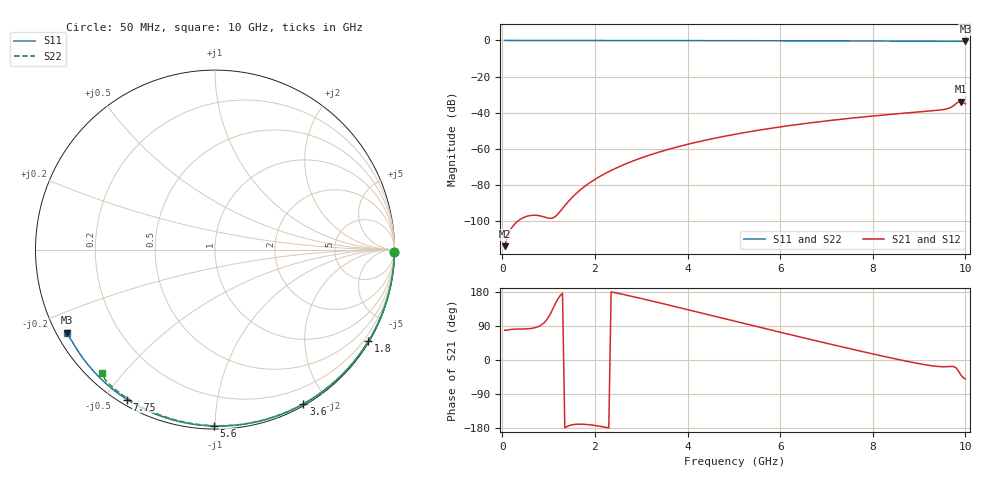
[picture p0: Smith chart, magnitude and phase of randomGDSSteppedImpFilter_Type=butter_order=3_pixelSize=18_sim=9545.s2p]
! freq	dB(S11)	phase(S11)	dB(S12)	phase(S12)
!  dB(S21)	phase(S21)	dB(S22)	phase(S22)
!S-par simulation data
#  GHz  S  DB  R 50
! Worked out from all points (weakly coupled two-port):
!   200 points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, 50 MHz to 10 GHz, reference 50 ohm
!   highest |S21| = -33.92 dB at 9.9 GHz (marker M1); lowest = -113.8 dB at 50 MHz (marker M2)
!   lowest |S11| = -0.5 dB at 10 GHz (marker M3), VSWR 35.09, Z = 1.52 - j13 ohm
!   |S11| at or under -10 dB: nowhere
!   |S22| runs from -0.7 to 0.0 dB; largest |S21 - S12| = 0
!   S11 on the Smith chart (normalised r, x): 50 MHz: open; 1.8 GHz: 0.03, -3.62; 3.6 GHz: 0.02, -1.72; 5.6 GHz: 0.02, -0.99; 7.75 GHz: 0.02, -0.57; 10 GHz: 0.03, -0.26
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0.05  -0.00 -0.9  -113.83 78.6  -113.83 78.6  -0.00 -0.8
0.9  -0.02 -15.6  -97.64 97.9  -97.64 97.9  -0.02 -13.8
1.75  -0.04 -30.1  -81.34 -169.6  -81.34 -169.6  -0.03 -26.5
1.8  -0.04 -30.9  -80.36 -170.0  -80.36 -170.0  -0.03 -27.3
1.85  -0.04 -31.7  -79.44 -170.5  -79.44 -170.5  -0.04 -28.0
2.15  -0.05 -36.7  -74.62 -175.7  -74.62 -175.7  -0.04 -32.5
2.5  -0.05 -42.5  -70.12 175.9  -70.12 175.9  -0.05 -37.6
2.9  -0.06 -49.1  -65.93 165.1  -65.93 165.1  -0.06 -43.4
3.4  -0.08 -57.1  -61.65 150.7  -61.65 150.7  -0.07 -50.5
3.6  -0.08 -60.2  -60.16 144.8  -60.16 144.8  -0.07 -53.3
4.3  -0.10 -71.1  -55.68 124.0  -55.68 124.0  -0.09 -63.0
5.05  -0.13 -82.3  -51.80 101.5  -51.80 101.5  -0.11 -73.1
5.6  -0.15 -90.4  -49.41 85.2  -49.41 85.2  -0.13 -80.3
6.7  -0.21 -106.0  -45.44 52.8  -45.44 52.8  -0.18 -94.2
7.75  -0.28 -120.3  -42.44 23.0  -42.44 23.0  -0.25 -107.0
8.35  -0.33 -128.4  -40.98 6.6  -40.98 6.6  -0.29 -114.1
9.3  -0.43 -141.2  -38.91 -15.6  -38.91 -15.6  -0.38 -125.4
9.55  -0.46 -144.6  -38.13 -17.9  -38.13 -17.9  -0.42 -128.5
9.7  -0.47 -146.6  -36.87 -17.0  -36.87 -17.0  -0.48 -130.6
9.85  -0.48 -148.6  -34.01 -29.0  -34.01 -29.0  -0.69 -131.9
9.9  -0.48 -149.3  -33.92 -39.1  -33.92 -39.1  -0.69 -131.8
10  -0.50 -150.7  -35.06 -50.0  -35.06 -50.0  -0.58 -132.4
